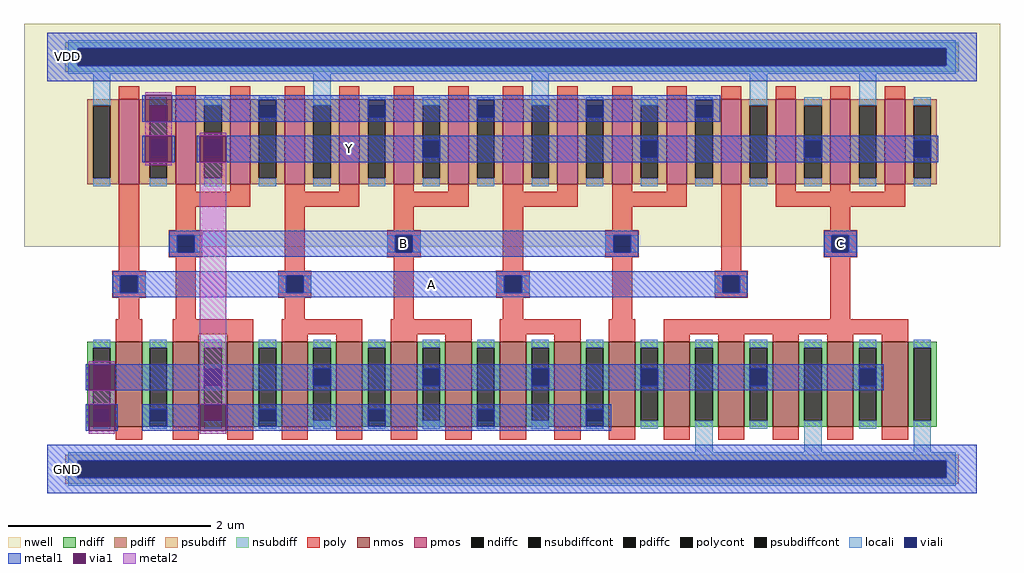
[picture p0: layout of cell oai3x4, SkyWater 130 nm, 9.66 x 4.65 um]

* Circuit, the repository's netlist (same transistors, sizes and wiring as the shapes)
** sch_path: /foss/designs/oai3x4.sch
.subckt oai3x4 VDD GND A B C Y
*.PININFO VDD:B GND:B A:I B:I C:I Y:O
XM2 net2 A VDD VDD sky130_fd_pr__pfet_01v8 L=0.2 W=5.04 nf=6
XM3 Y C VDD VDD sky130_fd_pr__pfet_01v8 L=0.2 W=2.52 nf=3
XM4 Y A net1 GND sky130_fd_pr__nfet_01v8 L=0.26 W=4.2 nf=5
XM1 Y B net2 VDD sky130_fd_pr__pfet_01v8 L=0.2 W=5.04 nf=6
XM6 net1 C GND GND sky130_fd_pr__nfet_01v8 L=0.26 W=4.2 nf=5
XM5 Y B net1 GND sky130_fd_pr__nfet_01v8 L=0.26 W=4.2 nf=5
.ends

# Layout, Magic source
magic
tech sky130A
magscale 1 2
<< nwell >>
rect -46 440 1886 882
<< nmos >>
rect 136 84 188 252
rect 248 84 300 252
rect 356 84 408 252
rect 464 84 516 252
rect 572 84 624 252
rect 680 84 732 252
rect 788 84 840 252
rect 896 84 948 252
rect 1004 84 1056 252
rect 1112 84 1164 252
rect 1220 84 1272 252
rect 1328 84 1380 252
rect 1436 84 1488 252
rect 1544 84 1596 252
rect 1652 84 1704 252
<< pmos >>
rect 142 564 182 732
rect 254 564 294 732
rect 362 564 402 732
rect 470 564 510 732
rect 578 564 618 732
rect 686 564 726 732
rect 794 564 834 732
rect 902 564 942 732
rect 1010 564 1050 732
rect 1118 564 1158 732
rect 1226 564 1266 732
rect 1334 564 1374 732
rect 1442 564 1482 732
rect 1550 564 1590 732
rect 1658 564 1698 732
<< ndiff >>
rect 79 240 136 252
rect 79 96 91 240
rect 125 96 136 240
rect 79 84 136 96
rect 188 240 248 252
rect 188 96 203 240
rect 237 96 248 240
rect 188 84 248 96
rect 300 240 356 252
rect 300 96 311 240
rect 345 96 356 240
rect 300 84 356 96
rect 408 240 464 252
rect 408 96 419 240
rect 453 96 464 240
rect 408 84 464 96
rect 516 240 572 252
rect 516 96 527 240
rect 561 96 572 240
rect 516 84 572 96
rect 624 240 680 252
rect 624 96 635 240
rect 669 96 680 240
rect 624 84 680 96
rect 732 240 788 252
rect 732 96 743 240
rect 777 96 788 240
rect 732 84 788 96
rect 840 240 896 252
rect 840 96 851 240
rect 885 96 896 240
rect 840 84 896 96
rect 948 240 1004 252
rect 948 96 959 240
rect 993 96 1004 240
rect 948 84 1004 96
rect 1056 240 1112 252
rect 1056 96 1067 240
rect 1101 96 1112 240
rect 1056 84 1112 96
rect 1164 240 1220 252
rect 1164 96 1175 240
rect 1209 96 1220 240
rect 1164 84 1220 96
rect 1272 240 1328 252
rect 1272 96 1283 240
rect 1317 96 1328 240
rect 1272 84 1328 96
rect 1380 240 1436 252
rect 1380 96 1391 240
rect 1425 96 1436 240
rect 1380 84 1436 96
rect 1488 240 1544 252
rect 1488 96 1499 240
rect 1533 96 1544 240
rect 1488 84 1544 96
rect 1596 240 1652 252
rect 1596 96 1607 240
rect 1641 96 1652 240
rect 1596 84 1652 96
rect 1704 240 1761 252
rect 1704 96 1715 240
rect 1749 96 1761 240
rect 1704 84 1761 96
<< pdiff >>
rect 79 720 142 732
rect 79 576 91 720
rect 125 576 142 720
rect 79 564 142 576
rect 182 720 254 732
rect 182 576 203 720
rect 237 576 254 720
rect 182 564 254 576
rect 294 720 362 732
rect 294 576 311 720
rect 345 576 362 720
rect 294 564 362 576
rect 402 720 470 732
rect 402 576 419 720
rect 453 576 470 720
rect 402 564 470 576
rect 510 720 578 732
rect 510 576 527 720
rect 561 576 578 720
rect 510 564 578 576
rect 618 720 686 732
rect 618 576 635 720
rect 669 576 686 720
rect 618 564 686 576
rect 726 720 794 732
rect 726 576 743 720
rect 777 576 794 720
rect 726 564 794 576
rect 834 720 902 732
rect 834 576 851 720
rect 885 576 902 720
rect 834 564 902 576
rect 942 720 1010 732
rect 942 576 959 720
rect 993 576 1010 720
rect 942 564 1010 576
rect 1050 720 1118 732
rect 1050 576 1067 720
rect 1101 576 1118 720
rect 1050 564 1118 576
rect 1158 720 1226 732
rect 1158 576 1175 720
rect 1209 576 1226 720
rect 1158 564 1226 576
rect 1266 720 1334 732
rect 1266 576 1283 720
rect 1317 576 1334 720
rect 1266 564 1334 576
rect 1374 720 1442 732
rect 1374 576 1391 720
rect 1425 576 1442 720
rect 1374 564 1442 576
rect 1482 720 1550 732
rect 1482 576 1499 720
rect 1533 576 1550 720
rect 1482 564 1550 576
rect 1590 720 1658 732
rect 1590 576 1607 720
rect 1641 576 1658 720
rect 1590 564 1658 576
rect 1698 720 1761 732
rect 1698 576 1715 720
rect 1749 576 1761 720
rect 1698 564 1761 576
<< ndiffc >>
rect 91 96 125 240
rect 203 96 237 240
rect 311 96 345 240
rect 419 96 453 240
rect 527 96 561 240
rect 635 96 669 240
rect 743 96 777 240
rect 851 96 885 240
rect 959 96 993 240
rect 1067 96 1101 240
rect 1175 96 1209 240
rect 1283 96 1317 240
rect 1391 96 1425 240
rect 1499 96 1533 240
rect 1607 96 1641 240
rect 1715 96 1749 240
<< pdiffc >>
rect 91 576 125 720
rect 203 576 237 720
rect 311 576 345 720
rect 419 576 453 720
rect 527 576 561 720
rect 635 576 669 720
rect 743 576 777 720
rect 851 576 885 720
rect 959 576 993 720
rect 1067 576 1101 720
rect 1175 576 1209 720
rect 1283 576 1317 720
rect 1391 576 1425 720
rect 1499 576 1533 720
rect 1607 576 1641 720
rect 1715 576 1749 720
<< psubdiff >>
rect 36 17 1804 29
rect 36 -17 60 17
rect 1780 -17 1804 17
rect 36 -29 1804 -17
<< nsubdiff >>
rect 36 833 1804 845
rect 36 799 60 833
rect 1780 799 1804 833
rect 36 787 1804 799
<< psubdiffcont >>
rect 60 -17 1780 17
<< nsubdiffcont >>
rect 60 799 1780 833
<< poly >>
rect 142 732 182 758
rect 254 732 294 758
rect 362 732 402 758
rect 470 732 510 758
rect 578 732 618 758
rect 686 732 726 758
rect 794 732 834 758
rect 902 732 942 758
rect 1010 732 1050 758
rect 1118 732 1158 758
rect 1226 732 1266 758
rect 1334 732 1374 758
rect 1442 732 1482 758
rect 1550 732 1590 758
rect 1658 732 1698 758
rect 142 393 182 564
rect 254 549 294 564
rect 362 549 402 564
rect 254 519 402 549
rect 470 549 510 564
rect 578 549 618 564
rect 470 519 618 549
rect 686 549 726 564
rect 794 549 834 564
rect 686 519 834 549
rect 902 549 942 564
rect 1010 549 1050 564
rect 902 519 1050 549
rect 1118 549 1158 564
rect 1226 549 1266 564
rect 1118 519 1266 549
rect 254 473 294 519
rect 241 463 307 473
rect 241 429 257 463
rect 291 429 307 463
rect 241 419 307 429
rect 129 383 195 393
rect 129 349 145 383
rect 179 349 195 383
rect 129 339 195 349
rect 142 297 182 339
rect 254 297 294 419
rect 470 393 510 519
rect 686 473 726 519
rect 673 463 739 473
rect 673 429 689 463
rect 723 429 739 463
rect 673 419 739 429
rect 457 383 523 393
rect 457 349 473 383
rect 507 349 523 383
rect 457 339 523 349
rect 470 297 510 339
rect 686 297 726 419
rect 902 393 942 519
rect 1118 473 1158 519
rect 1105 463 1171 473
rect 1105 429 1121 463
rect 1155 429 1171 463
rect 1105 419 1171 429
rect 889 383 955 393
rect 889 349 905 383
rect 939 349 955 383
rect 889 339 955 349
rect 902 297 942 339
rect 1118 297 1158 419
rect 1334 393 1374 564
rect 1442 549 1482 564
rect 1550 549 1590 564
rect 1658 549 1698 564
rect 1442 519 1698 549
rect 1550 473 1590 519
rect 1537 463 1603 473
rect 1537 429 1553 463
rect 1587 429 1603 463
rect 1537 419 1603 429
rect 1321 383 1387 393
rect 1321 349 1337 383
rect 1371 349 1387 383
rect 1321 339 1387 349
rect 1550 297 1590 419
rect 136 252 188 297
rect 248 267 408 297
rect 248 252 300 267
rect 356 252 408 267
rect 464 267 624 297
rect 464 252 516 267
rect 572 252 624 267
rect 680 267 840 297
rect 680 252 732 267
rect 788 252 840 267
rect 896 267 1056 297
rect 896 252 948 267
rect 1004 252 1056 267
rect 1112 252 1164 297
rect 1220 267 1704 297
rect 1220 252 1272 267
rect 1328 252 1380 267
rect 1436 252 1488 267
rect 1544 252 1596 267
rect 1652 252 1704 267
rect 136 58 188 84
rect 248 58 300 84
rect 356 58 408 84
rect 464 58 516 84
rect 572 58 624 84
rect 680 58 732 84
rect 788 58 840 84
rect 896 58 948 84
rect 1004 58 1056 84
rect 1112 58 1164 84
rect 1220 58 1272 84
rect 1328 58 1380 84
rect 1436 58 1488 84
rect 1544 58 1596 84
rect 1652 58 1704 84
<< polycont >>
rect 257 429 291 463
rect 145 349 179 383
rect 689 429 723 463
rect 473 349 507 383
rect 1121 429 1155 463
rect 905 349 939 383
rect 1553 429 1587 463
rect 1337 349 1371 383
<< locali >>
rect 42 833 1798 849
rect 42 799 60 833
rect 1780 799 1798 833
rect 42 783 1798 799
rect 91 720 125 783
rect 91 560 125 576
rect 203 720 237 736
rect 203 560 237 576
rect 311 720 345 736
rect 311 560 345 576
rect 419 731 453 736
rect 419 560 453 576
rect 527 720 561 783
rect 527 560 561 576
rect 635 731 669 736
rect 635 560 669 576
rect 743 720 777 736
rect 743 560 777 576
rect 851 731 885 736
rect 851 560 885 576
rect 959 720 993 783
rect 959 560 993 576
rect 1067 731 1101 736
rect 1067 560 1101 576
rect 1175 720 1209 736
rect 1175 560 1209 576
rect 1283 731 1317 736
rect 1283 560 1317 576
rect 1391 720 1425 783
rect 1391 560 1425 576
rect 1499 720 1533 736
rect 1499 560 1533 576
rect 1607 720 1641 783
rect 1607 560 1641 576
rect 1715 720 1749 736
rect 1715 560 1749 576
rect 241 429 257 463
rect 291 429 307 463
rect 673 429 689 463
rect 723 429 739 463
rect 1105 429 1121 463
rect 1155 429 1171 463
rect 1537 429 1553 463
rect 1587 429 1603 463
rect 129 349 145 383
rect 179 349 195 383
rect 457 349 473 383
rect 507 349 523 383
rect 889 349 905 383
rect 939 349 955 383
rect 1321 349 1337 383
rect 1371 349 1387 383
rect 91 240 125 256
rect 91 80 125 85
rect 203 240 237 256
rect 203 80 237 85
rect 311 240 345 256
rect 311 80 345 96
rect 419 240 453 256
rect 419 80 453 85
rect 527 240 561 256
rect 527 80 561 96
rect 635 240 669 256
rect 635 80 669 85
rect 743 240 777 256
rect 743 80 777 96
rect 851 240 885 256
rect 851 80 885 85
rect 959 240 993 256
rect 959 80 993 96
rect 1067 240 1101 256
rect 1067 80 1101 85
rect 1175 240 1209 256
rect 1175 80 1209 96
rect 1283 240 1317 256
rect 1283 33 1317 96
rect 1391 240 1425 256
rect 1391 80 1425 96
rect 1499 240 1533 256
rect 1499 33 1533 96
rect 1607 240 1641 256
rect 1607 80 1641 96
rect 1715 240 1749 256
rect 1715 33 1749 96
rect 42 17 1798 33
rect 42 -17 60 17
rect 1780 -17 1798 17
rect 42 -33 1798 -17
<< viali >>
rect 60 799 1780 833
rect 203 617 237 651
rect 311 617 345 651
rect 419 720 453 731
rect 419 697 453 720
rect 635 720 669 731
rect 635 697 669 720
rect 743 617 777 651
rect 851 720 885 731
rect 851 697 885 720
rect 1067 720 1101 731
rect 1067 697 1101 720
rect 1175 617 1209 651
rect 1283 720 1317 731
rect 1283 697 1317 720
rect 1499 617 1533 651
rect 1715 617 1749 651
rect 257 429 291 463
rect 689 429 723 463
rect 1121 429 1155 463
rect 1553 429 1587 463
rect 145 349 179 383
rect 473 349 507 383
rect 905 349 939 383
rect 1337 349 1371 383
rect 91 96 125 119
rect 91 85 125 96
rect 203 96 237 119
rect 203 85 237 96
rect 311 165 345 199
rect 419 96 453 119
rect 419 85 453 96
rect 527 165 561 199
rect 635 96 669 119
rect 635 85 669 96
rect 743 165 777 199
rect 851 96 885 119
rect 851 85 885 96
rect 959 165 993 199
rect 1067 96 1101 119
rect 1067 85 1101 96
rect 1175 165 1209 199
rect 1391 165 1425 199
rect 1607 165 1641 199
rect 60 -17 1780 17
<< metal1 >>
rect 0 833 1840 864
rect 0 799 60 833
rect 1780 799 1840 833
rect 0 768 1840 799
rect 188 688 194 740
rect 246 731 1332 740
rect 246 697 419 731
rect 453 697 635 731
rect 669 697 851 731
rect 885 697 1067 731
rect 1101 697 1283 731
rect 1317 697 1332 731
rect 246 688 1332 697
rect 188 608 194 660
rect 246 608 252 660
rect 296 608 302 660
rect 354 651 1764 660
rect 354 617 743 651
rect 777 617 1175 651
rect 1209 617 1499 651
rect 1533 617 1715 651
rect 1749 617 1764 651
rect 354 608 1764 617
rect 242 463 1170 472
rect 242 429 257 463
rect 291 429 689 463
rect 723 429 1121 463
rect 1155 429 1170 463
rect 242 420 1170 429
rect 1538 463 1602 472
rect 1538 429 1553 463
rect 1587 429 1602 463
rect 1538 420 1602 429
rect 130 383 1386 392
rect 130 349 145 383
rect 179 349 473 383
rect 507 349 905 383
rect 939 349 1337 383
rect 1371 349 1386 383
rect 130 340 1386 349
rect 76 156 82 208
rect 134 199 1656 208
rect 134 165 311 199
rect 345 165 527 199
rect 561 165 743 199
rect 777 165 959 199
rect 993 165 1175 199
rect 1209 165 1391 199
rect 1425 165 1607 199
rect 1641 165 1656 199
rect 134 156 1656 165
rect 76 76 82 128
rect 134 76 140 128
rect 188 119 302 128
rect 188 85 203 119
rect 237 85 302 119
rect 188 76 302 85
rect 354 119 1116 128
rect 354 85 419 119
rect 453 85 635 119
rect 669 85 851 119
rect 885 85 1067 119
rect 1101 85 1116 119
rect 354 76 1116 85
rect 0 17 1840 48
rect 0 -17 60 17
rect 1780 -17 1840 17
rect 0 -48 1840 -17
<< via1 >>
rect 194 688 246 740
rect 194 651 246 660
rect 194 617 203 651
rect 203 617 237 651
rect 237 617 246 651
rect 194 608 246 617
rect 302 651 354 660
rect 302 617 311 651
rect 311 617 345 651
rect 345 617 354 651
rect 302 608 354 617
rect 82 156 134 208
rect 82 119 134 128
rect 82 85 91 119
rect 91 85 125 119
rect 125 85 134 119
rect 82 76 134 85
rect 302 76 354 128
<< metal2 >>
rect 194 740 246 746
rect 194 660 246 688
rect 194 602 246 608
rect 302 660 354 666
rect 82 208 134 214
rect 82 128 134 156
rect 82 70 134 76
rect 302 128 354 608
rect 302 70 354 76
<< labels >>
rlabel metal1 10 780 70 852 0 VDD
port 1 nsew
rlabel metal1 10 -36 70 36 0 GND
port 2 nsew
rlabel metal1 737 343 783 389 0 A
port 3 nsew
rlabel metal1 683 423 729 469 0 B
port 4 nsew
rlabel metal1 1547 423 1593 469 0 C
port 5 nsew
rlabel metal1 575 611 621 657 0 Y
port 6 nsew
<< properties >>
string FIXED_BBOX 0 0 1840 816
<< end >>
